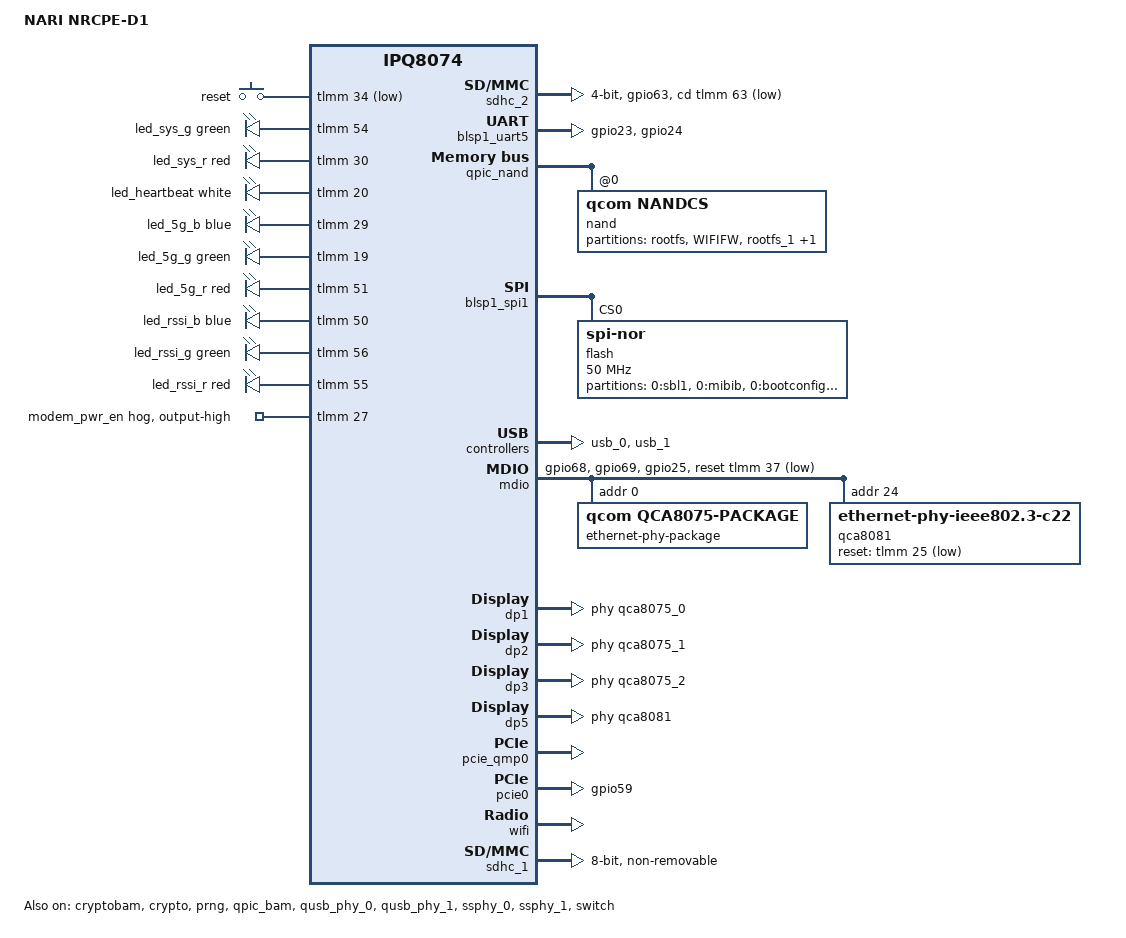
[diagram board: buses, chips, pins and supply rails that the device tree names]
// SPDX-License-Identifier: GPL-2.0-or-later OR MIT
//
// Copyright (C) 2025 NARI
//
// NARI NRCPE-D1 — IPQ8074
//
/dts-v1/;

#include "ipq8074.dtsi"
#include "ipq8074-hk-cpu.dtsi"
#include "ipq8074-nss.dtsi"
#include "ipq8074-ess.dtsi"
#include <dt-bindings/gpio/gpio.h>
#include <dt-bindings/input/input.h>
#include <dt-bindings/leds/common.h>
#include <dt-bindings/interrupt-controller/arm-gic.h>

/ {
	model = "NARI NRCPE-D1";
	compatible = "nari,nrcpe-d1", "qcom,ipq8074";

	aliases {
		serial0 = &blsp1_uart5;
		led-boot = &led_sys_g;
		led-failsafe = &led_sys_r;
		led-running = &led_sys_g;
		led-upgrade = &led_sys_r;
		ethernet0 = &dp1;
		ethernet1 = &dp2;
		ethernet2 = &dp3;
		ethernet3 = &dp5;
		label-mac-device = &dp5;
		mmc0 = &sdhc_1;
		mmc1 = &sdhc_2;
	};
	
	chosen {
		stdout-path = "serial0:115200n8";
	};

	keys {
		compatible = "gpio-keys";
		pinctrl-0 = <&button_pins>;
		pinctrl-names = "default";

		reset {
			label = "reset";
			linux,code = <KEY_RESTART>;
			gpios = <&tlmm 34 GPIO_ACTIVE_LOW>;
		};
	};

	leds {
		compatible = "gpio-leds";
		pinctrl-0 = <&led_pins>;
		pinctrl-names = "default";

		led_sys_g: sys-green {
			color = <LED_COLOR_ID_GREEN>;
			function = LED_FUNCTION_STATUS;
			gpios = <&tlmm 54 GPIO_ACTIVE_HIGH>;
		};

		led_sys_r: sys-red {
			color = <LED_COLOR_ID_RED>;
			function = LED_FUNCTION_FAULT;
			gpios = <&tlmm 30 GPIO_ACTIVE_HIGH>;
		};

		led_heartbeat: heartbeat {
			color = <LED_COLOR_ID_WHITE>;
			function = "heartbeat";
			gpios = <&tlmm 20 GPIO_ACTIVE_HIGH>;
			linux,default-trigger = "heartbeat";
		};

		led_5g_b: 5g-blue {
			color = <LED_COLOR_ID_BLUE>;
			gpios = <&tlmm 29 GPIO_ACTIVE_HIGH>;
		};

		led_5g_g: 5g-green {
			color = <LED_COLOR_ID_GREEN>;
			gpios = <&tlmm 19 GPIO_ACTIVE_HIGH>;
		};

		led_5g_r: 5g-red {
			color = <LED_COLOR_ID_RED>;
			gpios = <&tlmm 51 GPIO_ACTIVE_HIGH>;
		};

		led_rssi_b: rssi-blue {
			color = <LED_COLOR_ID_BLUE>;
			gpios = <&tlmm 50 GPIO_ACTIVE_HIGH>;
		};

		led_rssi_g: rssi-green {
			color = <LED_COLOR_ID_GREEN>;
			gpios = <&tlmm 56 GPIO_ACTIVE_HIGH>;
		};

		led_rssi_r: rssi-red {
			color = <LED_COLOR_ID_RED>;
			gpios = <&tlmm 55 GPIO_ACTIVE_HIGH>;
		};
	};
};


&soc {
	sdhc_2: mmc@7864900 {
		compatible = "qcom,ipq8074-sdhci", "qcom,sdhci-msm-v4";
		reg = <0x7864900 0x500>, <0x7864000 0x800>;
		reg-names = "hc", "core";

		interrupts = <GIC_SPI 125 IRQ_TYPE_LEVEL_HIGH>,
			     <GIC_SPI 221 IRQ_TYPE_LEVEL_HIGH>;
		interrupt-names = "hc_irq", "pwr_irq";
		
		clocks = <&gcc GCC_SDCC2_AHB_CLK>,
			 <&gcc GCC_SDCC2_APPS_CLK>;
		clock-names = "iface", "core";
		resets = <&gcc GCC_SDCC2_BCR>;
		
		max-frequency = <50000000>;
		bus-width = <4>;

		vqmmc-supply = <&l11>;
		
		pinctrl-0 = <&sdcc2_cd_pins>;
		pinctrl-names = "default";
		cd-gpios = <&tlmm 63 GPIO_ACTIVE_LOW>; 

		no-1-8-v;
		cap-sd-highspeed;

		status = "okay";
	};
};
&tlmm {
	button_pins: button-pins {
		pins = "gpio34";
		function = "gpio";
		bias-pull-up;
	};

	led_pins: led-pins {
		pins = "gpio19", "gpio20", "gpio29", "gpio30",
		       "gpio50", "gpio51", "gpio54", "gpio55", "gpio56";
		function = "gpio";
		drive-strength = <8>;
		bias-pull-down;
	};

	mdio_pins: mdio-pins {
		mdc {
			pins = "gpio68";
			function = "mdc";
			drive-strength = <8>;
			bias-pull-up;
		};

		mdio {
			pins = "gpio69";
			function = "mdio";
			drive-strength = <8>;
			bias-pull-up;
		};

		phy-reset {
			pins = "gpio25";
			function = "gpio";
			drive-strength = <8>;
			bias-pull-up;
		};
	};

	pcie0_default_state: pcie0_wake_gpio {
			bias-pull-up;
			drive-strength = <8>;
			function = "pcie0_wake";
			pins = "gpio59";
	};

	serial_console_pins: serial-console-pins {
		pins = "gpio23", "gpio24";
		function = "blsp4_uart1";
		drive-strength = <8>;
		bias-disable;
	};

	hsuart_pins: hsuart-state {
		pins = "gpio48", "gpio49";
	};
	
	sdcc2_cd_pins: sdcc2-cd-pins {
		mux {
			pins = "gpio63";
			function = "sd_card";
			drive-strength = <8>;
			bias-pull-up;
		};
	};
	modem_pwr_en: modem-pwr-en {
		gpio-hog;
		gpios = <27 GPIO_ACTIVE_HIGH>;
		output-high;
		line-name = "modem_pwr_en";
	};
};

&blsp1_uart3 {
	status = "disabled";
};

&blsp1_uart5 {
	pinctrl-0 = <&serial_console_pins>;
	pinctrl-names = "default";
	status = "okay";
};

&cryptobam {
	status = "okay";
};

&crypto {
	status = "okay";
};

&prng {
	status = "okay";
};

&qpic_bam {
	status = "okay";
};

&qpic_nand {
	status = "okay";

	nand@0 {
		reg = <0>;
		compatible = "qcom,nandcs";
		nand-ecc-strength = <8>;
		nand-ecc-step-size = <512>;
		nand-bus-width = <8>;

		partitions {
			compatible = "fixed-partitions";
			#address-cells = <1>;
			#size-cells = <1>;

			partition@0 {
				label = "rootfs";
				reg = <0x0 0x3400000>;
			};

			partition@3400000 {
				label = "WIFIFW";
				reg = <0x3400000 0x800000>;
				read-only;
			};

			partition@3c00000 {
				label = "rootfs_1";
				reg = <0x3c00000 0x3400000>;
			};

			partition@7000000 {
				label = "WIFIFW_1";
				reg = <0x7000000 0x800000>;
				read-only;
			};
		};
	};
};

&blsp1_spi1 {
	status = "okay";

	flash@0 {
		compatible = "jedec,spi-nor";
		reg = <0>;
		spi-max-frequency = <50000000>;

		partitions {
			compatible = "fixed-partitions";
			#address-cells = <1>;
			#size-cells = <1>;

			partition@0 {
				label = "0:sbl1";
				reg = <0x000000 0x050000>;
				read-only;
			};

			partition@50000 {
				label = "0:mibib";
				reg = <0x050000 0x010000>;
				read-only;
			};

			partition@60000 {
				label = "0:bootconfig";
				reg = <0x060000 0x020000>;
			};

			partition@80000 {
				label = "0:bootconfig1";
				reg = <0x080000 0x020000>;
			};

			partition@a0000 {
				label = "0:qsee";
				reg = <0x0a0000 0x180000>;
				read-only;
			};

			partition@220000 {
				label = "0:qsee_1";
				reg = <0x220000 0x180000>;
				read-only;
			};

			partition@3a0000 {
				label = "0:devcfg";
				reg = <0x3a0000 0x010000>;
				read-only;
			};

			partition@3b0000 {
				label = "0:devcfg_1";
				reg = <0x3b0000 0x010000>;
				read-only;
			};

			partition@3c0000 {
				label = "0:apdp";
				reg = <0x3c0000 0x010000>;
				read-only;
			};

			partition@3d0000 {
				label = "0:apdp_1";
				reg = <0x3d0000 0x010000>;
				read-only;
			};

			partition@3e0000 {
				label = "0:rpm";
				reg = <0x3e0000 0x040000>;
				read-only;
			};

			partition@420000 {
				label = "0:rpm_1";
				reg = <0x420000 0x040000>;
				read-only;
			};

			partition@460000 {
				label = "0:cdt";
				reg = <0x460000 0x010000>;
				read-only;
			};

			partition@470000 {
				label = "0:cdt_1";
				reg = <0x470000 0x010000>;
				read-only;
			};

			partition@480000 {
				label = "0:appsblenv";
				reg = <0x480000 0x10000>;

				nvmem-layout {
					compatible = "u-boot,env";
				};
			};

			partition@490000 {
				label = "0:appsbl";
				reg = <0x490000 0x0a0000>;
				read-only;
			};

			partition@530000 {
				label = "0:appsbl_1";
				reg = <0x530000 0x0a0000>;
				read-only;
			};

			partition@5d0000 {
				label = "0:art";
				reg = <0x5d0000 0x040000>;
				read-only;
			};

			partition@610000 {
				label = "0:ethphyfw";
				reg = <0x610000 0x080000>;
				read-only;
			};
		};
	};
};

&qusb_phy_0 {
	status = "okay";
};

&qusb_phy_1 {
	status = "okay";
};

&ssphy_0 {
	status = "okay";
};

&ssphy_1 {
	status = "okay";
};

&usb_0 {
	status = "okay";
};

&usb_1 {
	status = "okay";
};

&mdio {
	pinctrl-0 = <&mdio_pins>;
	pinctrl-names = "default";
	reset-gpios = <&tlmm 37 GPIO_ACTIVE_LOW>;
	status = "okay";

	ethernet-phy-package@0 {
		#address-cells = <1>;
		#size-cells = <0>;
		compatible = "qcom,qca8075-package";
		reg = <0>;

		qca8075_0: ethernet-phy@0 {
			compatible = "ethernet-phy-ieee802.3-c22";
			reg = <0>;
		};

		qca8075_1: ethernet-phy@1 {
			compatible = "ethernet-phy-ieee802.3-c22";
			reg = <1>;
		};

		qca8075_2: ethernet-phy@2 {
			compatible = "ethernet-phy-ieee802.3-c22";
			reg = <2>;
		};
	};

	qca8081: ethernet-phy@24 {
		compatible = "ethernet-phy-ieee802.3-c22";
		reg = <24>;
		reset-gpios = <&tlmm 25 GPIO_ACTIVE_LOW>;
	};
};

&switch {
	switch_lan_bmp = <(ESS_PORT1 | ESS_PORT2 | ESS_PORT3)>;
	switch_wan_bmp = <ESS_PORT5>;
	switch_mac_mode = <MAC_MODE_PSGMII>;
	switch_mac_mode2 = <MAC_MODE_SGMII_PLUS>;
	status = "okay";

	qcom,port_phyinfo {
		port@0 {
			phy_address = <0>;
			port_id = <1>;
		};

		port@1 {
			phy_address = <1>;
			port_id = <2>;
		};

		port@2 {
			phy_address = <2>;
			port_id = <3>;
		};

		port@4 {
			phy_address = <24>;
			port_mac_sel = "QGMAC_PORT";
			port_id = <5>;
		};
	};
};

&edma {
	status = "okay";
};

&dp1 {
	phy-handle = <&qca8075_0>;
	label = "lan1";
	status = "okay";
};

&dp2 {
	phy-handle = <&qca8075_1>;
	label = "lan2";
	status = "okay";
};

&dp3 {
	phy-handle = <&qca8075_2>;
	label = "lan3";
	status = "okay";
};

&dp5 {
	phy-handle = <&qca8081>;
	label = "wan";
	status = "okay";
};

&pcie_qmp0 {
	status = "okay";
};

&pcie0 {
	status = "okay";
	pinctrl-0 = <&pcie0_default_state>;
	pinctrl-names = "default";
	perst-gpio = <&tlmm 58 GPIO_ACTIVE_LOW>;

	pcie@0 {
		modem@0,0 {
			reg = <0x00 0x00 0x00 0x00 0x00>;
		};
	};
};

&wifi {
	qcom,ath11k-calibration-variant = "NARI-NRCPE-D1";
	status = "okay";
};

&sdhc_1 {
	bus-width = <8>;
	mmc-hs400-1_8v;
	mmc-hs200-1_8v;
	mmc-ddr-1_8v;
	non-removable;
	status = "okay";
};

